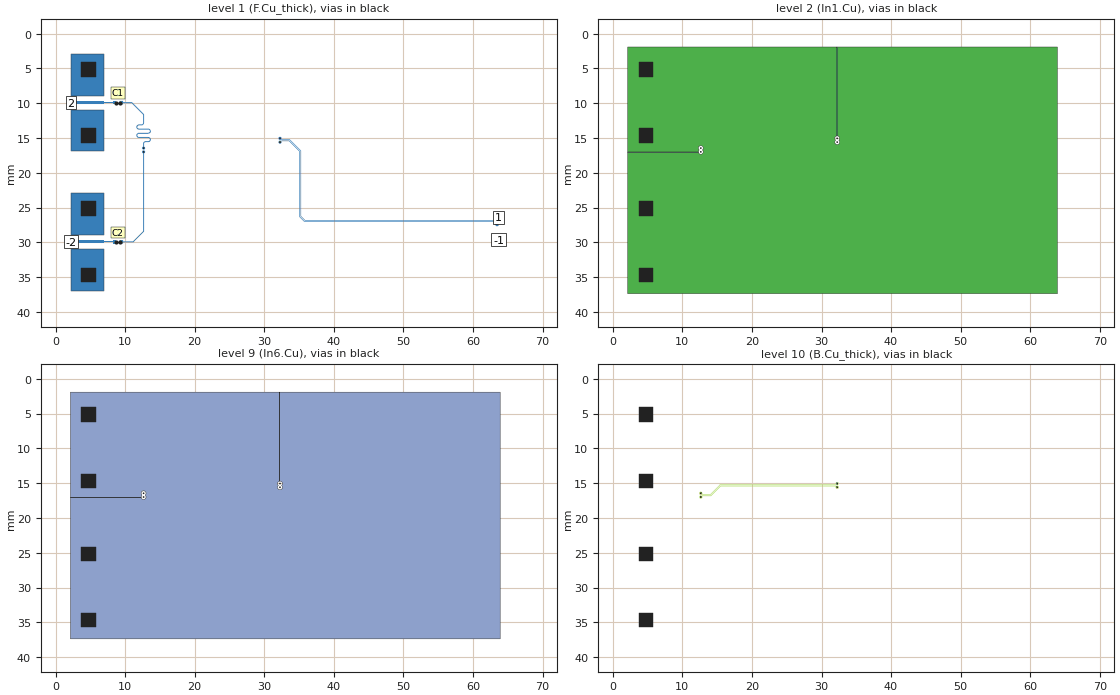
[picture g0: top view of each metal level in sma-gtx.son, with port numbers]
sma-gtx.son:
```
FTYP SONPROJ 19 ! Sonnet Project File
VER 18.52
HEADER
LIC antikernel2.1.51176
DAT 01/04/2022 07:13:20
BUILT_BY_CREATED dxf 18.52 12/15/2021 18:24:32
BUILT_BY_SAVED sonnet 18.52
MDATE 01/04/2022 07:10:09
HDATE 01/04/2022 07:10:09
ANN Created by dxfgeo, Sonnet Software Inc.
END HEADER
DIM
ANG DEG
CAP PF
CON /OH
FREQ GHZ
IND NH
LNG MM
RES OH
END DIM
CONTROL
VARSWP
OPTIONS  -dj
SPEED 1
CACHE_ABS 2
Q_ACC N
END CONTROL
GEO
TMET "Free Space" 0 FREESPACE 376.7303136 0 0 0
BMET "Free Space" 0 FREESPACE 376.7303136 0 0 0
MET "Copper_1oz_thin" 1 NOR 58000000 0.5 0.035 
MET "Copper_1oz_thick" 2 TMM 58000000 0.5 0.035 2
MET "Copper_0.5oz_thin" 4 NOR 58000000 0.5 0.017 
MET "Copper_0.5oz_thick" 12 TMM 58000000 0.5 0.017 2
MET "Copper_0.5oz_thick_down" 5 TMM 58000000 0.5 0.017 2 CDVY TDWN
MET "Copper_1oz_thick_down" 3 TMM 58000000 0.5 0.035 2 CDVY TDWN
BOX 12 70 40 5600 3200 20 0
      5 1 1 0 0 0 0 "Air"
      0.04 3.5 1 0.025 0 0 0 "Soldermask"
      0.075 3.39 1 0.004 0 0 0 "Panasonic_R-5775(G)"
      0.068 3.56 1 0.004 0 0 0 "Panasonic_R-5670(G)"
      0.13 3.39 1 0.004 0 0 0 "Panasonic_R-5775(G)"
      0.092 3.56 1 0.004 0 0 0 "Panasonic_R-5670(G)"
      0.609 3.39 1 0.004 0 0 0 "Panasonic_R-5775(G)"
      0.092 3.56 1 0.004 0 0 0 "Panasonic_R-5670(G)"
      0.13 3.39 1 0.004 0 0 0 "Panasonic_R-5775(G)"
      0.068 3.56 1 0.004 0 0 0 "Panasonic_R-5670(G)"
      0.075 3.39 1 0.004 0 0 0 "Panasonic_R-5775(G)"
      0.04 3.5 1 0.025 0 0 0 "Soldermask"
      5 1 1 0 0 0 0 "Air"
TECHLAY METAL F.Cu_thick L1D0 -2 -65534 CAD F.Cu_thick drawing 
1 0 1 N 5348 1 1 100 100 0 0 0 Y
END
END
TECHLAY VIA Via1 L9D0 -13 -65534 CAD Via1 drawing 
VIA POLYGON
1 0 -1 N 6209 1 1 100 100 0 0 0 Y
TOLEVEL 10 RING NOCOVERS
END
END
TECHLAY METAL F.Cu_thin <UNSPECIFIED> -1 -65534 CAD F.Cu_thin drawing 
1 0 0 N 5352 1 1 100 100 0 0 0 Y
END
END
TECHLAY METAL In1.Cu L2D0 -3 -65534 CAD In1.Cu drawing 
2 0 0 N 5355 1 1 100 100 0 0 0 Y
END
END
TECHLAY METAL In2.Cu_thick L3D0 -5 -65534 CAD In2.Cu_thick drawing 
3 0 3 N 5358 1 1 100 100 0 0 0 Y
END
END
TECHLAY METAL In2.Cu_thin <UNSPECIFIED> -4 -65534 CAD In2.Cu drawing 
3 0 2 N 5360 1 1 100 100 0 0 0 Y
END
END
TECHLAY METAL In3.Cu L4D0 -6 -65534 CAD In3.Cu drawing 
4 0 0 N 5363 1 1 100 100 0 0 0 Y
END
END
TECHLAY METAL In4.Cu L5D0 -7 -65534 CAD In4.Cu drawing 
7 0 0 N 5368 1 1 100 100 0 0 0 Y
END
END
TECHLAY METAL In5.Cu_thick L6D0 -9 -65534 CAD In5.Cu_thick drawing 
8 0 4 N 5371 1 1 100 100 0 0 0 Y
END
END
TECHLAY METAL In5.Cu_thin <UNSPECIFIED> -8 -65534 CAD In5.Cu drawing 
8 0 2 N 5373 1 1 100 100 0 0 0 Y
END
END
TECHLAY METAL In6.Cu L7D0 -10 -65534 CAD In6.Cu drawing 
9 0 0 N 5376 1 1 100 100 0 0 0 Y
END
END
TECHLAY METAL B.Cu_thick L8D0 -12 -65534 CAD B.Cu_thick drawing 
10 0 5 N 5379 1 1 100 100 0 0 0 Y
END
END
TECHLAY METAL B.Cu_thin <UNSPECIFIED> -11 -65534 CAD B.Cu_thin drawing 
10 0 0 N 5381 1 1 100 100 0 0 0 Y
END
END
LORGN 0 40 U 
POR1 CUP Auto
GNDREF AUTO
TERMW FEED
POLY 6062 1
22
1 100 0 0 0 63.675 26.425 
CUPGRP "Auto" LOCAL
ID 6205
END
POR1 CUP Auto
GNDREF AUTO
TERMW FEED
POLY 6063 1
9
-1 100 0 0 0 63.675 27.425 
CUPGRP "Auto" LOCAL
ID 6206
END
POR1 CUP Auto
GNDREF AUTO
TERMW FEED
POLY 6086 1
5
2 100 0 0 0 2.207 9.925 
CUPGRP "Auto" LOCAL
ID 6207
END
POR1 CUP Auto
GNDREF AUTO
TERMW FEED
POLY 6090 1
5
-2 100 0 0 0 2.207 29.925 
CUPGRP "Auto" LOCAL
ID 6208
END
SMD 1 "C1"
ID 6099
GNDREF AUTO
SBOX 8.832 9.082 9.8875 9.9625
PBSHW N
LPOS 8.957 9.8875
TYPE IDEAL CAP 100000
SMDP 1 9.207 9.925 R 3 1 
EXSMDP
GNDREF AUTO
TERMW FEED
END EXSMDP
SMDP 1 8.707 9.925 L 4 2 
EXSMDP
GNDREF AUTO
TERMW FEED
END EXSMDP
END
SMD 1 "C2"
ID 6104
GNDREF AUTO
SBOX 8.832 9.082 29.8875 29.9625
PBSHW N
LPOS 8.957 29.8875
TYPE IDEAL CAP 100000
SMDP 1 9.207 29.925 R 5 1 
EXSMDP
GNDREF AUTO
TERMW FEED
END EXSMDP
SMDP 1 8.707 29.925 L 6 2 
EXSMDP
GNDREF AUTO
TERMW FEED
END EXSMDP
END
NUM 22
1 551 1 N 33 1 1 100 100 0 0 0 Y
TLAYNAM F.Cu_thick INH
12.646 16.68
12.624 16.678
12.602 16.673
12.581 16.667
12.561 16.658
12.541 16.648
12.523 16.636
12.506 16.622
12.49 16.606
12.476 16.589
12.464 16.571
12.454 16.551
12.445 16.531
12.439 16.51
12.434 16.488
12.432 16.466
12.432 16.444
12.434 16.422
12.439 16.4
12.445 16.379
12.454 16.359
12.464 16.339
12.476 16.321
12.49 16.304
12.506 16.288
12.523 16.274
12.541 16.262
12.561 16.252
12.581 16.243
12.587 16.241
12.587 15.821
12.595 15.747
12.597 15.74
12.599 15.734
12.601 15.73
12.602 15.727
12.62 15.674
12.62 15.673
12.621 15.671
12.622 15.668
12.625 15.662
12.629 15.656
12.629 15.655
12.66 15.606
12.662 15.602
12.666 15.596
12.67 15.591
12.717 15.544
12.719 15.541
12.724 15.537
12.726 15.536
12.728 15.534
12.733 15.53
12.738 15.528
12.74 15.527
12.788 15.496
12.789 15.495
12.799 15.49
12.805 15.488
12.812 15.486
12.813 15.486
12.858 15.47
12.865 15.467
12.872 15.465
12.875 15.465
12.877 15.464
12.884 15.463
12.888 15.463
12.938 15.458
12.94 15.457
12.954 15.455
13.327 15.455
13.377 15.45
13.431 15.431
13.472 15.405
13.509 15.368
13.537 15.323
13.553 15.276
13.559 15.225
13.553 15.172
13.537 15.125
13.51 15.083
13.471 15.045
13.429 15.018
13.381 15.002
13.318 14.995
11.981 14.995
11.907 14.987
11.9 14.985
11.894 14.983
11.89 14.981
11.887 14.98
11.835 14.962
11.832 14.962
11.82 14.956
11.757 14.917
11.756 14.916
11.751 14.912
11.704 14.865
11.701 14.863
11.697 14.858
11.696 14.856
11.694 14.854
11.69 14.849
11.688 14.844
11.687 14.842
11.66 14.799
11.655 14.794
11.652 14.788
11.649 14.781
11.648 14.777
11.629 14.724
11.626 14.717
11.624 14.71
11.623 14.707
11.623 14.705
11.622 14.698
11.622 14.694
11.615 14.63
11.614 14.623
11.616 14.609
11.616 14.608
11.622 14.556
11.622 14.552
11.623 14.545
11.625 14.538
11.627 14.534
11.647 14.474
11.647 14.473
11.648 14.471
11.649 14.468
11.652 14.462
11.656 14.456
11.656 14.455
11.69 14.402
11.692 14.398
11.694 14.396
11.698 14.391
11.745 14.344
11.747 14.341
11.752 14.337
11.754 14.336
11.756 14.334
11.761 14.33
11.766 14.328
11.768 14.327
11.813 14.298
11.815 14.296
11.827 14.29
11.833 14.288
11.838 14.287
11.84 14.286
11.888 14.269
11.893 14.267
11.9 14.265
11.902 14.265
11.904 14.264
11.911 14.263
11.916 14.263
11.966 14.258
11.968 14.257
11.982 14.255
13.327 14.255
13.377 14.25
13.431 14.231
13.472 14.205
13.509 14.168
13.537 14.123
13.553 14.076
13.559 14.025
13.553 13.972
13.537 13.925
13.51 13.883
13.471 13.845
13.429 13.818
13.381 13.802
13.318 13.795
11.981 13.795
11.907 13.787
11.9 13.785
11.894 13.783
11.89 13.781
11.887 13.78
11.835 13.762
11.832 13.762
11.82 13.756
11.757 13.717
11.756 13.716
11.751 13.712
11.704 13.665
11.701 13.663
11.697 13.658
11.696 13.656
11.694 13.654
11.69 13.649
11.688 13.644
11.687 13.642
11.66 13.599
11.655 13.594
11.652 13.588
11.649 13.581
11.648 13.577
11.629 13.524
11.626 13.517
11.624 13.51
11.623 13.507
11.623 13.505
11.622 13.498
11.622 13.494
11.615 13.43
11.614 13.423
11.616 13.409
11.616 13.408
11.622 13.356
11.622 13.352
11.623 13.345
11.625 13.338
11.627 13.334
11.647 13.274
11.647 13.273
11.648 13.271
11.649 13.268
11.652 13.262
11.656 13.256
11.656 13.255
11.69 13.202
11.692 13.198
11.694 13.196
11.698 13.191
11.745 13.144
11.747 13.141
11.752 13.137
11.754 13.136
11.756 13.134
11.761 13.13
11.766 13.128
11.768 13.127
11.813 13.098
11.815 13.096
11.827 13.09
11.833 13.088
11.838 13.087
11.84 13.086
11.888 13.069
11.893 13.067
11.9 13.065
11.902 13.065
11.904 13.064
11.911 13.063
11.916 13.063
11.966 13.058
11.968 13.057
11.982 13.055
12.355 13.055
12.405 13.05
12.457 13.032
12.502 13.003
12.537 12.968
12.563 12.926
12.58 12.876
12.587 12.814
12.587 11.654
10.928 9.995
9.707 9.995
9.707 10.175
9.207 10.175
9.207 9.675
9.707 9.675
9.707 9.855
10.96 9.855
10.974 9.857
10.981 9.859
10.993 9.865
10.999 9.869
11.004 9.873
11.009 9.878
11.013 9.883
12.699 11.569
12.704 11.573
12.709 11.578
12.713 11.583
12.717 11.589
12.723 11.601
12.725 11.608
12.727 11.622
12.727 12.828
12.725 12.842
12.724 12.844
12.719 12.894
12.719 12.898
12.718 12.905
12.717 12.907
12.717 12.91
12.715 12.917
12.712 12.924
12.696 12.969
12.696 12.97
12.694 12.977
12.692 12.983
12.687 12.993
12.686 12.994
12.655 13.042
12.654 13.044
12.652 13.049
12.648 13.054
12.646 13.056
12.645 13.058
12.641 13.063
12.638 13.065
12.591 13.112
12.586 13.116
12.58 13.12
12.576 13.122
12.527 13.153
12.526 13.153
12.52 13.157
12.514 13.16
12.511 13.161
12.509 13.162
12.508 13.162
12.455 13.18
12.452 13.181
12.448 13.183
12.442 13.185
12.435 13.187
12.361 13.195
11.996 13.195
11.933 13.202
11.885 13.218
11.842 13.245
11.804 13.283
11.777 13.325
11.761 13.372
11.755 13.425
11.761 13.476
11.777 13.523
11.804 13.568
11.842 13.605
11.883 13.631
11.937 13.65
11.987 13.655
13.332 13.655
13.346 13.657
13.348 13.658
13.398 13.663
13.403 13.663
13.41 13.664
13.412 13.665
13.414 13.665
13.421 13.667
13.426 13.669
13.474 13.686
13.476 13.687
13.481 13.688
13.487 13.69
13.499 13.696
13.501 13.698
13.546 13.727
13.548 13.728
13.553 13.73
13.558 13.734
13.56 13.736
13.562 13.737
13.567 13.741
13.571 13.747
13.608 13.783
13.616 13.791
13.62 13.796
13.622 13.798
13.624 13.802
13.654 13.851
13.658 13.855
13.658 13.856
13.662 13.862
13.665 13.868
13.666 13.871
13.667 13.873
13.667 13.874
13.687 13.934
13.689 13.938
13.691 13.945
13.692 13.952
13.692 13.956
13.698 14.008
13.698 14.009
13.7 14.023
13.699 14.03
13.692 14.094
13.692 14.098
13.691 14.105
13.69 14.107
13.69 14.11
13.688 14.117
13.685 14.124
13.666 14.177
13.665 14.181
13.662 14.188
13.659 14.194
13.654 14.199
13.627 14.242
13.626 14.244
13.624 14.249
13.62 14.254
13.618 14.256
13.617 14.258
13.613 14.263
13.61 14.265
13.563 14.312
13.558 14.316
13.557 14.317
13.494 14.356
13.482 14.362
13.479 14.362
13.427 14.38
13.424 14.381
13.42 14.383
13.414 14.385
13.407 14.387
13.333 14.395
11.996 14.395
11.933 14.402
11.885 14.418
11.842 14.445
11.804 14.483
11.777 14.525
11.761 14.572
11.755 14.625
11.761 14.676
11.777 14.723
11.804 14.768
11.842 14.805
11.883 14.831
11.937 14.85
11.987 14.855
13.332 14.855
13.346 14.857
13.348 14.858
13.398 14.863
13.403 14.863
13.41 14.864
13.412 14.865
13.414 14.865
13.421 14.867
13.426 14.869
13.474 14.886
13.476 14.887
13.481 14.888
13.487 14.89
13.499 14.896
13.501 14.898
13.546 14.927
13.548 14.928
13.553 14.93
13.558 14.934
13.56 14.936
13.562 14.937
13.567 14.941
13.571 14.947
13.608 14.983
13.616 14.991
13.62 14.996
13.622 14.998
13.624 15.002
13.654 15.051
13.658 15.055
13.658 15.056
13.662 15.062
13.665 15.068
13.666 15.071
13.667 15.073
13.667 15.074
13.687 15.134
13.689 15.138
13.691 15.145
13.692 15.152
13.692 15.156
13.698 15.208
13.698 15.209
13.7 15.223
13.699 15.23
13.692 15.294
13.692 15.298
13.691 15.305
13.69 15.307
13.69 15.31
13.688 15.317
13.685 15.324
13.666 15.377
13.665 15.381
13.662 15.388
13.659 15.394
13.654 15.399
13.627 15.442
13.626 15.444
13.624 15.449
13.62 15.454
13.618 15.456
13.617 15.458
13.613 15.463
13.61 15.465
13.563 15.512
13.558 15.516
13.557 15.517
13.494 15.556
13.482 15.562
13.479 15.562
13.427 15.58
13.424 15.581
13.42 15.583
13.414 15.585
13.407 15.587
13.333 15.595
12.968 15.595
12.906 15.602
12.856 15.619
12.814 15.645
12.779 15.68
12.75 15.725
12.732 15.777
12.727 15.822
12.727 16.241
12.733 16.243
12.753 16.252
12.773 16.262
12.791 16.274
12.808 16.288
12.824 16.304
12.838 16.321
12.85 16.339
12.86 16.359
12.869 16.379
12.875 16.4
12.88 16.422
12.882 16.444
12.882 16.466
12.88 16.488
12.875 16.51
12.869 16.531
12.86 16.551
12.85 16.571
12.838 16.589
12.824 16.606
12.808 16.622
12.791 16.636
12.773 16.648
12.753 16.658
12.733 16.667
12.712 16.673
12.69 16.678
12.668 16.68
12.646 16.68
END
1 81 1 N 169 1 1 100 100 0 0 0 Y
TLAYNAM F.Cu_thick INH
9.207 30.175
9.207 29.675
9.707 29.675
9.707 29.855
11.128 29.855
12.587 28.396
12.587 17.209
12.581 17.207
12.561 17.198
12.541 17.188
12.523 17.176
12.506 17.162
12.49 17.146
12.476 17.129
12.464 17.111
12.454 17.091
12.445 17.071
12.439 17.05
12.434 17.028
12.432 17.006
12.432 16.984
12.434 16.962
12.439 16.94
12.445 16.919
12.454 16.899
12.464 16.879
12.476 16.861
12.49 16.844
12.506 16.828
12.523 16.814
12.541 16.802
12.561 16.792
12.581 16.783
12.602 16.777
12.624 16.772
12.646 16.77
12.668 16.77
12.69 16.772
12.712 16.777
12.733 16.783
12.753 16.792
12.773 16.802
12.791 16.814
12.808 16.828
12.824 16.844
12.838 16.861
12.85 16.879
12.86 16.899
12.869 16.919
12.875 16.94
12.88 16.962
12.882 16.984
12.882 17.006
12.88 17.028
12.875 17.05
12.869 17.071
12.86 17.091
12.85 17.111
12.838 17.129
12.824 17.146
12.808 17.162
12.791 17.176
12.773 17.188
12.753 17.198
12.733 17.207
12.727 17.209
12.727 28.428
12.725 28.442
12.723 28.449
12.717 28.461
12.713 28.467
12.709 28.472
11.204 29.977
11.199 29.981
11.193 29.985
11.181 29.991
11.174 29.993
11.16 29.995
9.707 29.995
9.707 30.175
9.207 30.175
END
1 162 1 N 6062 1 1 100 100 0 0 0 Y
TLAYNAM F.Cu_thick INH
63.058 26.879
63.062 26.877
63.066 26.876
63.07 26.874
63.074 26.871
63.304 26.641
63.321 26.652
63.344 26.665
63.368 26.675
63.393 26.682
63.418 26.687
63.444 26.69
63.47 26.69
63.496 26.687
63.521 26.682
63.546 26.675
63.57 26.665
63.593 26.652
63.615 26.638
63.635 26.621
63.653 26.603
63.67 26.583
63.675 26.57514286
63.675 26.27485714
63.67 26.267
63.653 26.247
63.635 26.229
63.615 26.212
63.593 26.198
63.57 26.185
63.546 26.175
63.521 26.168
63.496 26.163
63.47 26.16
63.444 26.16
63.418 26.163
63.393 26.168
63.368 26.175
63.344 26.185
63.321 26.198
63.299 26.212
63.279 26.229
63.261 26.247
63.244 26.267
63.23 26.289
63.217 26.312
63.207 26.336
63.2 26.361
63.195 26.386
63.192 26.412
63.192 26.438
63.195 26.464
63.2 26.489
63.207 26.514
63.217 26.538
63.23 26.561
63.241 26.578
63.029 26.79
35.863 26.79
35.292 26.22
35.292 16.831
35.291 16.827
35.289 16.823
35.288 16.819
35.286 16.815
35.28 16.807
35.274 16.802
33.68 15.208
33.678 15.205
33.675 15.202
33.674 15.202
33.671 15.199
33.667 15.196
33.664 15.194
33.659 15.193
33.655 15.191
33.651 15.19
32.455 15.19
32.444 15.179
32.45 15.171
32.46 15.151
32.469 15.131
32.475 15.11
32.48 15.088
32.482 15.066
32.482 15.044
32.48 15.022
32.475 15
32.469 14.979
32.46 14.959
32.45 14.939
32.438 14.921
32.424 14.904
32.408 14.888
32.391 14.874
32.373 14.862
32.353 14.852
32.333 14.843
32.312 14.837
32.29 14.832
32.268 14.83
32.246 14.83
32.224 14.832
32.202 14.837
32.181 14.843
32.161 14.852
32.141 14.862
32.123 14.874
32.106 14.888
32.09 14.904
32.076 14.921
32.064 14.939
32.054 14.959
32.045 14.979
32.039 15
32.034 15.022
32.032 15.044
32.032 15.066
32.034 15.088
32.039 15.11
32.045 15.131
32.054 15.151
32.064 15.171
32.076 15.189
32.09 15.206
32.106 15.222
32.123 15.236
32.141 15.248
32.161 15.258
32.181 15.267
32.202 15.273
32.224 15.278
32.246 15.28
32.268 15.28
32.29 15.278
32.312 15.273
32.333 15.267
32.353 15.258
32.373 15.248
32.381 15.242
32.41 15.271
32.414 15.274
32.418 15.276
32.422 15.277
32.426 15.279
32.43 15.28
33.626 15.28
35.202 16.857
35.202 26.245
35.203 26.249
35.205 26.253
35.206 26.257
35.208 26.261
35.211 26.265
35.808 26.862
35.814 26.869
35.817 26.871
35.821 26.874
35.829 26.878
35.837 26.88
63.054 26.88
63.058 26.879
END
1 161 1 N 6063 1 1 100 100 0 0 0 Y
TLAYNAM F.Cu_thick INH
63.496 27.687
63.521 27.682
63.546 27.675
63.57 27.665
63.593 27.652
63.615 27.638
63.635 27.621
63.653 27.603
63.67 27.583
63.675 27.57514286
63.675 27.27485714
63.67 27.267
63.653 27.247
63.635 27.229
63.615 27.212
63.593 27.198
63.57 27.185
63.546 27.175
63.521 27.168
63.496 27.163
63.47 27.16
63.444 27.16
63.418 27.163
63.393 27.168
63.368 27.175
63.344 27.185
63.321 27.198
63.304 27.209
63.086 26.992
63.083 26.988
63.081 26.985
63.078 26.982
63.07 26.976
63.067 26.974
63.062 26.973
63.058 26.971
63.054 26.97
35.789 26.97
35.112 26.294
35.112 16.905
35.11 16.897
35.106 16.889
35.103 16.885
35.101 16.882
35.094 16.876
33.597 15.379
33.593 15.376
33.589 15.374
33.585 15.373
33.581 15.371
33.577 15.37
32.43 15.37
32.426 15.371
32.422 15.373
32.418 15.374
32.414 15.376
32.41 15.379
32.381 15.408
32.373 15.402
32.353 15.392
32.333 15.383
32.312 15.377
32.29 15.372
32.268 15.37
32.246 15.37
32.224 15.372
32.202 15.377
32.181 15.383
32.161 15.392
32.141 15.402
32.123 15.414
32.106 15.428
32.09 15.444
32.076 15.461
32.064 15.479
32.054 15.499
32.045 15.519
32.039 15.54
32.034 15.562
32.032 15.584
32.032 15.606
32.034 15.628
32.039 15.65
32.045 15.671
32.054 15.691
32.064 15.711
32.076 15.729
32.09 15.746
32.106 15.762
32.123 15.776
32.141 15.788
32.161 15.798
32.181 15.807
32.202 15.813
32.224 15.818
32.246 15.82
32.268 15.82
32.29 15.818
32.312 15.813
32.333 15.807
32.353 15.798
32.373 15.788
32.391 15.776
32.408 15.762
32.424 15.746
32.438 15.729
32.45 15.711
32.46 15.691
32.469 15.671
32.475 15.65
32.48 15.628
32.482 15.606
32.482 15.584
32.48 15.562
32.475 15.54
32.469 15.519
32.46 15.499
32.45 15.479
32.444 15.471
32.455 15.46
33.552 15.46
35.022 16.931
35.022 26.319
35.023 26.323
35.025 26.327
35.026 26.331
35.028 26.335
35.031 26.339
35.734 27.042
35.739 27.048
35.747 27.054
35.751 27.056
35.755 27.057
35.759 27.059
35.763 27.06
63.029 27.06
63.241 27.272
63.23 27.289
63.217 27.312
63.207 27.336
63.2 27.361
63.195 27.386
63.192 27.412
63.192 27.438
63.195 27.464
63.2 27.489
63.207 27.514
63.217 27.538
63.23 27.561
63.244 27.583
63.261 27.603
63.279 27.621
63.299 27.638
63.321 27.652
63.344 27.665
63.368 27.675
63.393 27.682
63.418 27.687
63.444 27.69
63.47 27.69
63.496 27.687
END
1 5 1 N 6085 1 1 100 100 0 0 0 Y
TLAYNAM F.Cu_thick INH
6.957 30.925
2.207 30.925
2.207 36.925
6.957 36.925
6.957 30.925
END
1 13 1 N 6086 1 1 100 100 0 0 0 Y
TLAYNAM F.Cu_thick INH
8.707 9.675
8.207 9.675
8.207 9.855
6.957 9.855
6.957 9.685
2.207 9.685
2.207 10.165
6.957 10.165
6.957 9.995
8.207 9.995
8.207 10.175
8.707 10.175
8.707 9.675
END
1 5 1 N 6087 1 1 100 100 0 0 0 Y
TLAYNAM F.Cu_thick INH
6.957 22.925
2.207 22.925
2.207 28.925
6.957 28.925
6.957 22.925
END
1 5 1 N 6088 1 1 100 100 0 0 0 Y
TLAYNAM F.Cu_thick INH
6.957 10.925
2.207 10.925
2.207 16.925
6.957 16.925
6.957 10.925
END
1 5 1 N 6089 1 1 100 100 0 0 0 Y
TLAYNAM F.Cu_thick INH
6.957 2.925
2.207 2.925
2.207 8.925
6.957 8.925
6.957 2.925
END
1 13 1 N 6090 1 1 100 100 0 0 0 Y
TLAYNAM F.Cu_thick INH
8.707 29.675
8.207 29.675
8.207 29.855
6.957 29.855
6.957 29.685
2.207 29.685
2.207 30.165
6.957 30.165
6.957 29.995
8.207 29.995
8.207 30.175
8.707 30.175
8.707 29.675
END
VIA POLYGON
1 53 -1 N 5148 1 1 100 100 0 0 0 Y
TOLEVEL 10 RING NOCOVERS
TLAYNAM Via1 INH
12.657 16.58
12.633 16.578
12.621 16.575
12.609 16.57
12.598 16.565
12.588 16.559
12.578 16.552
12.56 16.534
12.553 16.524
12.547 16.514
12.542 16.503
12.537 16.491
12.534 16.479
12.532 16.455
12.534 16.431
12.537 16.419
12.542 16.407
12.547 16.396
12.553 16.386
12.56 16.376
12.578 16.358
12.588 16.351
12.598 16.345
12.609 16.34
12.621 16.335
12.633 16.332
12.657 16.33
12.681 16.332
12.693 16.335
12.705 16.34
12.716 16.345
12.726 16.351
12.736 16.358
12.754 16.376
12.761 16.386
12.767 16.396
12.772 16.407
12.777 16.419
12.78 16.431
12.782 16.455
12.78 16.479
12.777 16.491
12.772 16.503
12.767 16.514
12.761 16.524
12.754 16.534
12.736 16.552
12.726 16.559
12.716 16.565
12.705 16.57
12.693 16.575
12.681 16.578
12.657 16.58
END
VIA POLYGON
1 53 -1 N 5186 1 1 100 100 0 0 0 Y
TOLEVEL 10 RING NOCOVERS
TLAYNAM Via1 INH
12.657 17.12
12.633 17.118
12.621 17.115
12.609 17.11
12.598 17.105
12.588 17.099
12.578 17.092
12.56 17.074
12.553 17.064
12.547 17.054
12.542 17.043
12.537 17.031
12.534 17.019
12.532 16.995
12.534 16.971
12.537 16.959
12.542 16.947
12.547 16.936
12.553 16.926
12.56 16.916
12.578 16.898
12.588 16.891
12.598 16.885
12.609 16.88
12.621 16.875
12.633 16.872
12.657 16.87
12.681 16.872
12.693 16.875
12.705 16.88
12.716 16.885
12.726 16.891
12.736 16.898
12.754 16.916
12.761 16.926
12.767 16.936
12.772 16.947
12.777 16.959
12.78 16.971
12.782 16.995
12.78 17.019
12.777 17.031
12.772 17.043
12.767 17.054
12.761 17.064
12.754 17.074
12.736 17.092
12.726 17.099
12.716 17.105
12.705 17.11
12.693 17.115
12.681 17.118
12.657 17.12
END
VIA POLYGON
1 53 -1 N 5190 1 1 100 100 0 0 0 Y
TOLEVEL 10 RING NOCOVERS
TLAYNAM Via1 INH
32.257 15.72
32.233 15.718
32.221 15.715
32.209 15.71
32.198 15.705
32.188 15.699
32.178 15.692
32.16 15.674
32.153 15.664
32.147 15.654
32.142 15.643
32.137 15.631
32.134 15.619
32.132 15.595
32.134 15.571
32.137 15.559
32.142 15.547
32.147 15.536
32.153 15.526
32.16 15.516
32.178 15.498
32.188 15.491
32.198 15.485
32.209 15.48
32.221 15.475
32.233 15.472
32.257 15.47
32.281 15.472
32.293 15.475
32.305 15.48
32.316 15.485
32.326 15.491
32.336 15.498
32.354 15.516
32.361 15.526
32.367 15.536
32.372 15.547
32.377 15.559
32.38 15.571
32.382 15.595
32.38 15.619
32.377 15.631
32.372 15.643
32.367 15.654
32.361 15.664
32.354 15.674
32.336 15.692
32.326 15.699
32.316 15.705
32.305 15.71
32.293 15.715
32.281 15.718
32.257 15.72
END
VIA POLYGON
1 53 -1 N 5192 1 1 100 100 0 0 0 Y
TOLEVEL 10 RING NOCOVERS
TLAYNAM Via1 INH
32.257 15.18
32.233 15.178
32.221 15.175
32.209 15.17
32.198 15.165
32.188 15.159
32.178 15.152
32.16 15.134
32.153 15.124
32.147 15.114
32.142 15.103
32.137 15.091
32.134 15.079
32.132 15.055
32.134 15.031
32.137 15.019
32.142 15.007
32.147 14.996
32.153 14.986
32.16 14.976
32.178 14.958
32.188 14.951
32.198 14.945
32.209 14.94
32.221 14.935
32.233 14.932
32.257 14.93
32.281 14.932
32.293 14.935
32.305 14.94
32.316 14.945
32.326 14.951
32.336 14.958
32.354 14.976
32.361 14.986
32.367 14.996
32.372 15.007
32.377 15.019
32.38 15.031
32.382 15.055
32.38 15.079
32.377 15.091
32.372 15.103
32.367 15.114
32.361 15.124
32.354 15.134
32.336 15.152
32.326 15.159
32.316 15.165
32.305 15.17
32.293 15.175
32.281 15.178
32.257 15.18
END
VIA POLYGON
1 5 -1 N 6187 1 1 100 100 0 0 0 Y
TOLEVEL 10 RING NOCOVERS
TLAYNAM Via1 INH
3.707 4.125
5.8 4.125
5.8 6.225
3.707 6.225
3.707 4.125
END
VIA POLYGON
1 5 -1 N 6189 1 1 100 100 0 0 0 Y
TOLEVEL 10 RING NOCOVERS
TLAYNAM Via1 INH
3.707 13.625
5.8 13.625
5.8 15.725
3.707 15.725
3.707 13.625
END
VIA POLYGON
1 5 -1 N 6190 1 1 100 100 0 0 0 Y
TOLEVEL 10 RING NOCOVERS
TLAYNAM Via1 INH
3.707 24.125
5.8 24.125
5.8 26.225
3.707 26.225
3.707 24.125
END
VIA POLYGON
1 5 -1 N 6191 1 1 100 100 0 0 0 Y
TOLEVEL 10 RING NOCOVERS
TLAYNAM Via1 INH
3.707 33.625
5.8 33.625
5.8 35.725
3.707 35.725
3.707 33.625
END
2 217 0 N 6094 1 1 100 100 0 0 0 Y
TLAYNAM In1.Cu INH
63.9 28.675
63.9 28.58
63.9 24.393
63.9 18.35
63.9 1.925
32.225 1.925
32.225 14.705
32.295 14.705
32.356 14.718
32.3896 14.732
32.428 14.748
32.429 14.748
32.48 14.783
32.526 14.829
32.569 14.894
32.571 14.896
32.571 14.898
32.573 14.902
32.573 14.903
32.575 14.907
32.577 14.912
32.577 14.913
32.592 14.946
32.592 14.948
32.607 15.023
32.607 15.093
32.594 15.154
32.566 15.223
32.547 15.252
32.541 15.26
32.541 15.261
32.529 15.278
32.516 15.291
32.51 15.299
32.508 15.304
32.506 15.308
32.504 15.313
32.503 15.318
32.503 15.332
32.504 15.337
32.506 15.342
32.508 15.346
32.51 15.351
32.516 15.359
32.526 15.369
32.571 15.435
32.571 15.436
32.592 15.486
32.592 15.488
32.607 15.563
32.607 15.632
32.598 15.674
32.597 15.679
32.597 15.683
32.595 15.693
32.564 15.766
32.564 15.767
32.529 15.818
32.483 15.864
32.417 15.909
32.416 15.909
32.366 15.93
32.364 15.93
32.289 15.945
32.219 15.945
32.158 15.932
32.086 15.902
32.085 15.902
32.034 15.867
31.998 15.831
31.988 15.821
31.973 15.799
31.943 15.755
31.943 15.754
31.922 15.704
31.922 15.702
31.907 15.627
31.907 15.557
31.92 15.496
31.95 15.424
31.95 15.423
31.985 15.372
31.998 15.359
32.004 15.351
32.006 15.346
32.008 15.342
32.01 15.337
32.011 15.332
32.011 15.318
32.01 15.313
32.008 15.308
32.006 15.304
32.004 15.299
31.998 15.291
31.995 15.288
31.99 15.284
31.988 15.281
31.943 15.215
31.943 15.214
31.922 15.164
31.922 15.162
31.907 15.087
31.907 15.017
31.92 14.956
31.95 14.884
31.95 14.883
31.985 14.832
32.031 14.786
32.097 14.741
32.098 14.741
32.148 14.72
32.15 14.72
32.225 14.705
32.225 1.925
2.15 1.925
2.15 17.027
12.307 17.027
12.307 16.957
12.32 16.896
12.35 16.824
12.35 16.823
12.385 16.772
12.398 16.759
12.404 16.751
12.406 16.746
12.408 16.742
12.41 16.737
12.411 16.732
12.411 16.718
12.41 16.713
12.408 16.708
12.406 16.704
12.404 16.699
12.398 16.691
12.395 16.688
12.39 16.684
12.388 16.681
12.343 16.615
12.343 16.614
12.322 16.564
12.322 16.562
12.307 16.487
12.307 16.417
12.32 16.356
12.35 16.284
12.35 16.283
12.385 16.232
12.431 16.186
12.497 16.141
12.498 16.141
12.548 16.12
12.55 16.12
12.625 16.105
12.695 16.105
12.756 16.118
12.828 16.148
12.829 16.148
12.88 16.183
12.926 16.229
12.971 16.295
12.971 16.296
12.992 16.346
12.992 16.348
13.002 16.398
13.003 16.402
13.004 16.403
13.007 16.422
13.007 16.457
13.007 16.493
12.994 16.554
12.964 16.626
12.964 16.627
12.929 16.678
12.916 16.691
12.91 16.699
12.908 16.704
12.906 16.708
12.904 16.713
12.903 16.718
12.903 16.732
12.904 16.737
12.906 16.742
12.908 16.746
12.91 16.751
12.916 16.759
12.926 16.769
12.971 16.835
12.971 16.836
12.992 16.886
12.992 16.888
13.007 16.963
13.007 17.033
12.994 17.094
12.965 17.165
12.964 17.167
12.929 17.218
12.883 17.264
12.817 17.309
12.816 17.309
12.766 17.33
12.764 17.33
12.689 17.345
12.619 17.345
12.558 17.332
12.486 17.302
12.485 17.302
12.434 17.267
12.388 17.221
12.343 17.155
12.343 17.154
12.322 17.104
12.322 17.102
12.307 17.027
2.15 17.027
2.15 37.375
63.9 37.375
63.9 28.675
END
9 218 0 N 6096 1 1 100 100 0 0 0 Y
TLAYNAM In6.Cu INH
63.9 28.58
63.9 24.393
63.9 21.425
63.9 1.925
32.225 1.925
32.225 14.705
32.295 14.705
32.356 14.718
32.3896 14.732
32.428 14.748
32.429 14.748
32.48 14.783
32.526 14.829
32.569 14.894
32.571 14.896
32.571 14.898
32.573 14.902
32.573 14.903
32.575 14.907
32.577 14.912
32.577 14.913
32.592 14.946
32.592 14.948
32.607 15.023
32.607 15.093
32.594 15.154
32.566 15.223
32.547 15.252
32.541 15.26
32.541 15.261
32.529 15.278
32.516 15.291
32.51 15.299
32.508 15.304
32.506 15.308
32.504 15.313
32.503 15.318
32.503 15.332
32.504 15.337
32.506 15.342
32.508 15.346
32.51 15.351
32.516 15.359
32.526 15.369
32.571 15.435
32.571 15.436
32.592 15.486
32.592 15.488
32.607 15.563
32.607 15.632
32.598 15.674
32.597 15.679
32.597 15.683
32.595 15.693
32.564 15.766
32.564 15.767
32.529 15.818
32.483 15.864
32.417 15.909
32.416 15.909
32.366 15.93
32.364 15.93
32.289 15.945
32.219 15.945
32.158 15.932
32.086 15.902
32.085 15.902
32.034 15.867
32.025 15.858
31.998 15.831
31.998 15.831
31.988 15.821
31.973 15.799
31.943 15.755
31.943 15.754
31.922 15.704
31.922 15.702
31.907 15.627
31.907 15.557
31.92 15.496
31.95 15.424
31.95 15.423
31.985 15.372
31.998 15.359
32.004 15.351
32.006 15.346
32.008 15.342
32.01 15.337
32.011 15.332
32.011 15.318
32.01 15.313
32.008 15.308
32.006 15.304
32.004 15.299
31.998 15.291
31.995 15.288
31.99 15.284
31.988 15.281
31.943 15.215
31.943 15.214
31.922 15.164
31.922 15.162
31.907 15.087
31.907 15.017
31.92 14.956
31.95 14.884
31.95 14.883
31.985 14.832
32.031 14.786
32.097 14.741
32.098 14.741
32.148 14.72
32.15 14.72
32.225 14.705
32.225 1.925
2.15 1.925
2.15 17.027
12.307 17.027
12.307 16.957
12.32 16.896
12.35 16.824
12.35 16.823
12.385 16.772
12.398 16.759
12.404 16.751
12.406 16.746
12.408 16.742
12.41 16.737
12.411 16.732
12.411 16.718
12.41 16.713
12.408 16.708
12.406 16.704
12.404 16.699
12.398 16.691
12.395 16.688
12.39 16.684
12.388 16.681
12.343 16.615
12.343 16.614
12.322 16.564
12.322 16.562
12.307 16.487
12.307 16.417
12.32 16.356
12.35 16.284
12.35 16.283
12.385 16.232
12.431 16.186
12.497 16.141
12.498 16.141
12.548 16.12
12.55 16.12
12.625 16.105
12.695 16.105
12.756 16.118
12.828 16.148
12.829 16.148
12.88 16.183
12.926 16.229
12.971 16.295
12.971 16.296
12.992 16.346
12.992 16.348
13.002 16.398
13.003 16.402
13.004 16.403
13.007 16.422
13.007 16.457
13.007 16.493
12.994 16.554
12.964 16.626
12.964 16.627
12.929 16.678
12.916 16.691
12.91 16.699
12.908 16.704
12.906 16.708
12.904 16.713
12.903 16.718
12.903 16.732
12.904 16.737
12.906 16.742
12.908 16.746
12.91 16.751
12.916 16.759
12.926 16.769
12.971 16.835
12.971 16.836
12.992 16.886
12.992 16.888
13.007 16.963
13.007 17.033
12.994 17.094
12.965 17.165
12.964 17.167
12.929 17.218
12.883 17.264
12.817 17.309
12.816 17.309
12.766 17.33
12.764 17.33
12.689 17.345
12.619 17.345
12.558 17.332
12.486 17.302
12.485 17.302
12.434 17.267
12.388 17.221
12.343 17.155
12.343 17.154
12.322 17.104
12.322 17.102
12.307 17.027
2.15 17.027
2.15 37.375
63.9 37.375
63.9 28.58
END
10 155 5 N 4471 1 1 100 100 0 0 0 Y
TLAYNAM B.Cu_thick INH
12.646 17.22
12.624 17.218
12.602 17.213
12.581 17.207
12.561 17.198
12.541 17.188
12.523 17.176
12.506 17.162
12.49 17.146
12.476 17.129
12.464 17.111
12.454 17.091
12.445 17.071
12.439 17.05
12.434 17.028
12.432 17.006
12.432 16.984
12.434 16.962
12.439 16.94
12.445 16.919
12.454 16.899
12.464 16.879
12.476 16.861
12.49 16.844
12.506 16.828
12.523 16.814
12.541 16.802
12.561 16.792
12.581 16.783
12.602 16.777
12.624 16.772
12.646 16.77
12.668 16.77
12.69 16.772
12.712 16.777
12.733 16.783
12.753 16.792
12.773 16.802
12.781 16.808
12.81 16.779
12.814 16.776
12.818 16.774
12.822 16.773
12.826 16.771
12.83 16.77
14.076 16.77
15.467 15.379
15.471 15.376
15.475 15.374
15.479 15.373
15.483 15.371
15.487 15.37
32.084 15.37
32.088 15.371
32.092 15.373
32.096 15.374
32.1 15.376
32.104 15.379
32.133 15.408
32.141 15.402
32.161 15.392
32.181 15.383
32.202 15.377
32.224 15.372
32.246 15.37
32.268 15.37
32.29 15.372
32.312 15.377
32.333 15.383
32.353 15.392
32.373 15.402
32.391 15.414
32.408 15.428
32.424 15.444
32.438 15.461
32.45 15.479
32.46 15.499
32.469 15.519
32.475 15.54
32.48 15.562
32.482 15.584
32.482 15.606
32.48 15.628
32.475 15.65
32.469 15.671
32.46 15.691
32.45 15.711
32.438 15.729
32.424 15.746
32.408 15.762
32.391 15.776
32.373 15.788
32.353 15.798
32.333 15.807
32.312 15.813
32.29 15.818
32.268 15.82
32.246 15.82
32.224 15.818
32.202 15.813
32.181 15.807
32.161 15.798
32.141 15.788
32.123 15.776
32.106 15.762
32.09 15.746
32.076 15.729
32.064 15.711
32.054 15.691
32.045 15.671
32.039 15.65
32.034 15.628
32.032 15.606
32.032 15.584
32.034 15.562
32.039 15.54
32.045 15.519
32.054 15.499
32.064 15.479
32.07 15.471
32.059 15.46
15.512 15.46
14.13 16.842
14.128 16.845
14.125 16.848
14.117 16.854
14.114 16.856
14.109 16.857
14.105 16.859
14.101 16.86
12.855 16.86
12.844 16.871
12.85 16.879
12.86 16.899
12.869 16.919
12.875 16.94
12.88 16.962
12.882 16.984
12.882 17.006
12.88 17.028
12.875 17.05
12.869 17.071
12.86 17.091
12.85 17.111
12.838 17.129
12.824 17.146
12.808 17.162
12.791 17.176
12.773 17.188
12.753 17.198
12.733 17.207
12.712 17.213
12.69 17.218
12.668 17.22
12.646 17.22
END
10 155 5 N 4474 1 1 100 100 0 0 0 Y
TLAYNAM B.Cu_thick INH
12.646 16.68
12.624 16.678
12.602 16.673
12.581 16.667
12.561 16.658
12.541 16.648
12.523 16.636
12.506 16.622
12.49 16.606
12.476 16.589
12.464 16.571
12.454 16.551
12.445 16.531
12.439 16.51
12.434 16.488
12.432 16.466
12.432 16.444
12.434 16.422
12.439 16.4
12.445 16.379
12.454 16.359
12.464 16.339
12.476 16.321
12.49 16.304
12.506 16.288
12.523 16.274
12.541 16.262
12.561 16.252
12.581 16.243
12.602 16.237
12.624 16.232
12.646 16.23
12.668 16.23
12.69 16.232
12.712 16.237
12.733 16.243
12.753 16.252
12.773 16.262
12.791 16.274
12.808 16.288
12.824 16.304
12.838 16.321
12.85 16.339
12.86 16.359
12.869 16.379
12.875 16.4
12.88 16.422
12.882 16.444
12.882 16.466
12.88 16.488
12.875 16.51
12.869 16.531
12.86 16.551
12.85 16.571
12.844 16.579
12.855 16.59
14.002 16.59
15.393 15.199
15.397 15.196
15.401 15.194
15.405 15.193
15.409 15.191
15.413 15.19
32.059 15.19
32.07 15.179
32.064 15.171
32.054 15.151
32.045 15.131
32.039 15.11
32.034 15.088
32.032 15.066
32.032 15.044
32.034 15.022
32.039 15
32.045 14.979
32.054 14.959
32.064 14.939
32.076 14.921
32.09 14.904
32.106 14.888
32.123 14.874
32.141 14.862
32.161 14.852
32.181 14.843
32.202 14.837
32.224 14.832
32.246 14.83
32.268 14.83
32.29 14.832
32.312 14.837
32.333 14.843
32.353 14.852
32.373 14.862
32.391 14.874
32.408 14.888
32.424 14.904
32.438 14.921
32.45 14.939
32.46 14.959
32.469 14.979
32.475 15
32.48 15.022
32.482 15.044
32.482 15.066
32.48 15.088
32.475 15.11
32.469 15.131
32.46 15.151
32.45 15.171
32.438 15.189
32.424 15.206
32.408 15.222
32.391 15.236
32.373 15.248
32.353 15.258
32.333 15.267
32.312 15.273
32.29 15.278
32.268 15.28
32.246 15.28
32.224 15.278
32.202 15.273
32.181 15.267
32.161 15.258
32.141 15.248
32.133 15.242
32.113 15.262
32.111 15.265
32.108 15.268
32.1 15.274
32.097 15.276
32.092 15.277
32.088 15.279
32.084 15.28
15.438 15.28
14.047 16.671
14.043 16.674
14.039 16.676
14.035 16.677
14.031 16.679
14.027 16.68
12.83 16.68
12.826 16.679
12.822 16.677
12.818 16.676
12.814 16.674
12.81 16.671
12.781 16.642
12.773 16.648
12.753 16.658
12.733 16.667
12.712 16.673
12.69 16.678
12.668 16.68
12.646 16.68
END
END GEO
OPT
MAX 3.0362e7
END OPT
VARSWP
ENABLED Y
FREQ Y AY ABS_ENTRY 0.001 16.0 -1 300 
END
END VARSWP
3DOPTIONS
GLOBAL 2
ALL 13 1
END 3DOPTIONS
```
